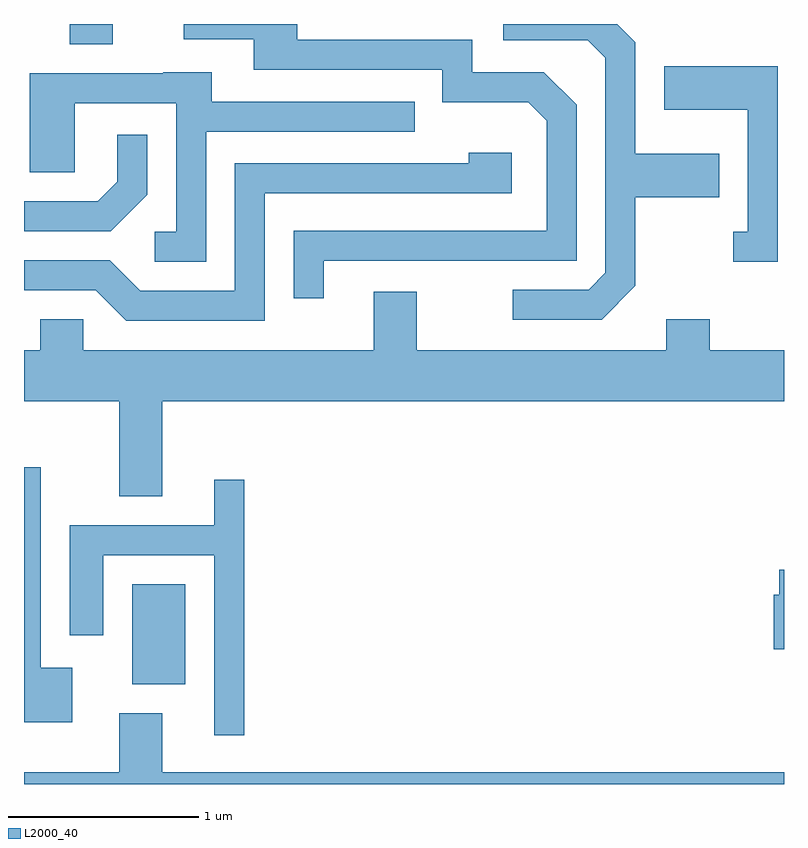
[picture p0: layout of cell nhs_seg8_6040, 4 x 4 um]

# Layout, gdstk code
import gdstk
lib = gdstk.Library(unit=1e-6, precision=1e-09)
def R(c, l, rs):  # rectangles x0, y0, x1, y1
    for r in rs: c.add(gdstk.rectangle(r[:2], r[2:], *l))
def P(c, l, *ps):  # polygons
    for p in ps: c.add(gdstk.Polygon(p, *l))
L2000_40 = (2000, 40)

nhs_seg8_6040 = lib.new_cell('nhs_seg8_6040')
R(nhs_seg8_6040, L2000_40, [(366.181,1894.866,366.459,1895.394), (365.851,1898.236,366.079,1898.342)])
P(nhs_seg8_6040, L2000_40, [(367.189,1897.096),(368.519,1897.096),(368.519,1897.917),(368.347,1898.089),(367.969,1898.089),(367.969,1898.259),(367.049,1898.259),(367.049,1898.342),(366.453,1898.342),(366.453,1898.261),(366.821,1898.261),(366.821,1898.101),(367.811,1898.101),(367.811,1897.931),(368.264,1897.931),(368.361,1897.834),(368.361,1897.254),(367.031,1897.254),(367.031,1896.898),(367.189,1896.898)],
  [(368.829,1896.964),(368.829,1897.431),(369.269,1897.431),(369.269,1897.659),(368.829,1897.659),(368.829,1898.247),(368.734,1898.342),(368.133,1898.342),(368.133,1898.256),(368.579,1898.256),(368.671,1898.164),(368.671,1897.032),(368.584,1896.944),(368.183,1896.944),(368.183,1896.786),(368.652,1896.786)],
  [(369.579,1898.119),(368.981,1898.119),(368.981,1897.891),(369.421,1897.891),(369.421,1897.249),(369.343,1897.249),(369.343,1897.091),(369.579,1897.091)],
  [(366.569,1897.776),(367.668,1897.776),(367.668,1897.934),(366.599,1897.934),(366.599,1898.089),(366.345,1898.089),(366.345,1898.084),(365.641,1898.084),(365.641,1897.561),(365.879,1897.561),(365.879,1897.926),(366.411,1897.926),(366.411,1897.249),(366.298,1897.249),(366.298,1897.091),(366.569,1897.091)],
  [(366.259,1897.444),(366.259,1897.758),(366.101,1897.758),(366.101,1897.512),(365.999,1897.409),(365.611,1897.409),(365.611,1897.251),(366.067,1897.251)],
  [(366.879,1897.451),(368.179,1897.451),(368.179,1897.664),(367.951,1897.664),(367.951,1897.609),(366.721,1897.609),(366.721,1896.939),(366.222,1896.939),(366.062,1897.099),(365.611,1897.099),(365.611,1896.941),(365.989,1896.941),(366.149,1896.781),(366.879,1896.781)],
  [(366.339,1896.356),(369.611,1896.356),(369.611,1896.624),(369.219,1896.624),(369.219,1896.789),(368.991,1896.789),(368.991,1896.624),(367.679,1896.624),(367.679,1896.934),(367.451,1896.934),(367.451,1896.624),(365.924,1896.624),(365.924,1896.789),(365.696,1896.789),(365.696,1896.624),(365.611,1896.624),(365.611,1896.356),(366.111,1896.356),(366.111,1895.856),(366.339,1895.856)],
  [(365.864,1894.954),(365.699,1894.954),(365.699,1896.009),(365.611,1896.009),(365.611,1894.666),(365.864,1894.666)],
  [(366.769,1895.943),(366.611,1895.943),(366.611,1895.704),(365.851,1895.704),(365.851,1895.126),(366.029,1895.126),(366.029,1895.546),(366.611,1895.546),(366.611,1894.598),(366.769,1894.598)],
  [(369.611,1895.469),(369.586,1895.469),(369.586,1895.339),(369.556,1895.339),(369.556,1895.051),(369.611,1895.051)],
  [(369.611,1894.404),(366.339,1894.404),(366.339,1894.714),(366.111,1894.714),(366.111,1894.404),(365.611,1894.404),(365.611,1894.342),(369.611,1894.342)])

lib.write_gds('nhs_seg8_6040.gds')
